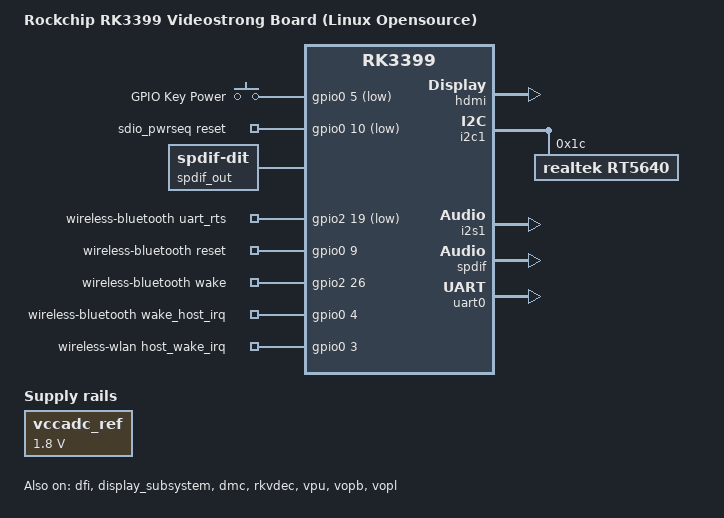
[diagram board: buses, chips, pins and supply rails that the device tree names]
/*
 * Copyright (c) 2018 Fuzhou Rockchip Electronics Co., Ltd
 *
 * SPDX-License-Identifier: (GPL-2.0+ OR MIT)
 */

/dts-v1/;

#include "rk3399-sapphire.dtsi"
#include "rk3399-linux.dtsi"
#include <dt-bindings/input/input.h>

/ {
	model = "Rockchip RK3399 Videostrong Board (Linux Opensource)";
	compatible = "rockchip,rk3399-videostrong-linux", "rockchip,rk3399";

	fiq_debugger: fiq-debugger {
		compatible = "rockchip,fiq-debugger";
		rockchip,serial-id = <2>;
		rockchip,signal-irq = <182>;
		rockchip,wake-irq = <0>;
		rockchip,irq-mode-enable = <1>;  /* If enable uart uses irq instead of fiq */
		rockchip,baudrate = <1500000>;  /* Only 115200 and 1500000 */
		pinctrl-names = "default";
		pinctrl-0 = <&uart2c_xfer>;
	};

	gpio-keys {
		compatible = "gpio-keys";
		#address-cells = <1>;
		#size-cells = <0>;
		autorepeat;

		pinctrl-names = "default";
		pinctrl-0 = <&pwrbtn>;

		button@0 {
			gpios = <&gpio0 5 GPIO_ACTIVE_LOW>;
			linux,code = <KEY_POWER>;
			label = "GPIO Key Power";
			linux,input-type = <1>;
			gpio-key,wakeup = <1>;
			debounce-interval = <100>;
		};
	};

	hdmi_sound: hdmi-sound {
		status = "okay";
	};

	rt5640-sound {
		compatible = "simple-audio-card";
		simple-audio-card,format = "i2s";
		simple-audio-card,name = "rockchip,rt5640-codec";
		simple-audio-card,mclk-fs = <256>;
		simple-audio-card,widgets =
			"Microphone", "Mic Jack",
			"Headphone", "Headphone Jack";
		simple-audio-card,routing =
			"Mic Jack", "MICBIAS1",
			"IN1P", "Mic Jack",
			"Headphone Jack", "HPOL",
			"Headphone Jack", "HPOR";
		simple-audio-card,cpu {
			sound-dai = <&i2s1>;
		};
		simple-audio-card,codec {
			sound-dai = <&rt5640>;
		};
	};

	sdio_pwrseq: sdio-pwrseq {
		compatible = "mmc-pwrseq-simple";
		clocks = <&rk808 1>;
		clock-names = "ext_clock";
		pinctrl-names = "default";
		pinctrl-0 = <&wifi_enable_h>;

		/*
		 * On the module itself this is one of these (depending
		 * on the actual card populated):
		 * - SDIO_RESET_L_WL_REG_ON
		 * - PDN (power down when low)
		 */
		reset-gpios = <&gpio0 10 GPIO_ACTIVE_LOW>; /* GPIO0_B2 */
	};

	spdif-sound {
		status = "okay";
		compatible = "simple-audio-card";
		simple-audio-card,name = "ROCKCHIP,SPDIF";
		simple-audio-card,cpu {
			sound-dai = <&spdif>;
		};
		simple-audio-card,codec {
			sound-dai = <&spdif_out>;
		};
	};

	spdif_out: spdif-out {
		status = "okay";
		compatible = "linux,spdif-dit";
		#sound-dai-cells = <0>;
	};

	vccadc_ref: vccadc-ref {
		compatible = "regulator-fixed";
		regulator-name = "vcc1v8_sys";
		regulator-always-on;
		regulator-boot-on;
		regulator-min-microvolt = <1800000>;
		regulator-max-microvolt = <1800000>;
	};

	wireless-bluetooth {
		compatible = "bluetooth-platdata";
		clocks = <&rk808 1>;
		clock-names = "ext_clock";
		uart_rts_gpios = <&gpio2 19 GPIO_ACTIVE_LOW>; /* GPIO2_C3 */
		pinctrl-names = "default", "rts_gpio";
		pinctrl-0 = <&uart0_rts>;
		pinctrl-1 = <&uart0_gpios>;
		BT,reset_gpio    = <&gpio0 9 GPIO_ACTIVE_HIGH>; /* GPIO0_B1 */
		BT,wake_gpio     = <&gpio2 26 GPIO_ACTIVE_HIGH>; /* GPIO2_D2 */
		BT,wake_host_irq = <&gpio0 4 GPIO_ACTIVE_HIGH>; /* GPIO0_A4 */
		status = "okay";
	};

	wireless-wlan {
		compatible = "wlan-platdata";
		rockchip,grf = <&grf>;
		wifi_chip_type = "ap6354";
		sdio_vref = <1800>;
		WIFI,host_wake_irq = <&gpio0 3 GPIO_ACTIVE_HIGH>; /* GPIO0_a3 */
		status = "okay";
	};
};

&dfi {
	status = "okay";
};

&display_subsystem {
	status = "okay";
};

&dmc {
	status = "okay";
	center-supply = <&vdd_center>;
	upthreshold = <40>;
	downdifferential = <20>;
	system-status-freq = <
		/* system status	freq(KHz) */
		SYS_STATUS_NORMAL       800000
		SYS_STATUS_REBOOT       528000
		SYS_STATUS_SUSPEND      200000
		SYS_STATUS_VIDEO_1080P  200000
		SYS_STATUS_VIDEO_4K     600000
		SYS_STATUS_VIDEO_4K_10B 800000
		SYS_STATUS_PERFORMANCE  800000
		SYS_STATUS_BOOST        400000
		SYS_STATUS_DUALVIEW     600000
		SYS_STATUS_ISP          600000
	>;
	vop-bw-dmc-freq = <
	/* min_bw(MB/s) max_bw(MB/s) freq(KHz) */
		0       577      200000
		578     1701     300000
		1702    99999    400000
	>;
	auto-min-freq = <200000>;
};

&hdmi {
	/* remove the hdmi_cec, reused by edp_hpd */
	pinctrl-0 = <&hdmi_i2c_xfer>;
	#address-cells = <1>;
	#size-cells = <0>;
	#sound-dai-cells = <0>;
	status = "okay";
};

&i2c1 {
	status = "okay";
	i2c-scl-rising-time-ns = <300>;
	i2c-scl-falling-time-ns = <15>;

	rt5640: rt5640@1c {
		#sound-dai-cells = <0>;
		compatible = "realtek,rt5640";
		reg = <0x1c>;
		clocks = <&cru SCLK_I2S_8CH_OUT>;
		clock-names = "mclk";
		realtek,in1-differential;
		pinctrl-names = "default";
		pinctrl-0 = <&i2s_8ch_mclk>;
	};
};

&i2s1 {
	status = "okay";
	rockchip,i2s-broken-burst-len;
	rockchip,playback-channels = <2>;
	rockchip,capture-channels = <2>;
	#sound-dai-cells = <0>;
};

&rkvdec {
	status = "okay";
	/* 0 means ion, 1 means drm */
	//allocator = <0>;
};

&rockchip_suspend {
	status = "okay";
	rockchip,sleep-debug-en = <1>;
	rockchip,sleep-mode-config = <
		(0
		| RKPM_SLP_ARMPD
		| RKPM_SLP_PERILPPD
		| RKPM_SLP_DDR_RET
		| RKPM_SLP_PLLPD
		| RKPM_SLP_CENTER_PD
		| RKPM_SLP_AP_PWROFF
		)
		>;
	rockchip,wakeup-config = <
		(0
		| RKPM_GPIO_WKUP_EN
		| RKPM_PWM_WKUP_EN
		)
		>;
		rockchip,pwm-regulator-config = <
		(0
		| PWM2_REGULATOR_EN
		)
		>;
		rockchip,power-ctrl =
		<&gpio1 17 GPIO_ACTIVE_HIGH>,
		<&gpio1 14 GPIO_ACTIVE_HIGH>;
};

&spdif {
	status = "okay";
	pinctrl-0 = <&spdif_bus>;
	i2c-scl-rising-time-ns = <450>;
	i2c-scl-falling-time-ns = <15>;
	#sound-dai-cells = <0>;
};

&uart0 {
	pinctrl-names = "default";
	pinctrl-0 = <&uart0_xfer &uart0_cts>;
	status = "okay";
};

&vpu {
	status = "okay";
	/* 0 means ion, 1 means drm */
	//allocator = <0>;
};

&vopb {
	status = "okay";
};

&vopb_mmu {
	status = "okay";
};

&vopl {
	status = "okay";
};

&vopl_mmu {
	status = "okay";
};

&pinctrl {
	buttons {
		pwrbtn: pwrbtn {
			rockchip,pins = <0 5 RK_FUNC_GPIO &pcfg_pull_up>;
		};
	};

	sdio-pwrseq {
		wifi_enable_h: wifi-enable-h {
			rockchip,pins =
				<0 10 RK_FUNC_GPIO &pcfg_pull_none>;
		};
	};

	wireless-bluetooth {
		uart0_gpios: uart0-gpios {
			rockchip,pins =
				<2 19 RK_FUNC_GPIO &pcfg_pull_none>;
		};
	};
};
